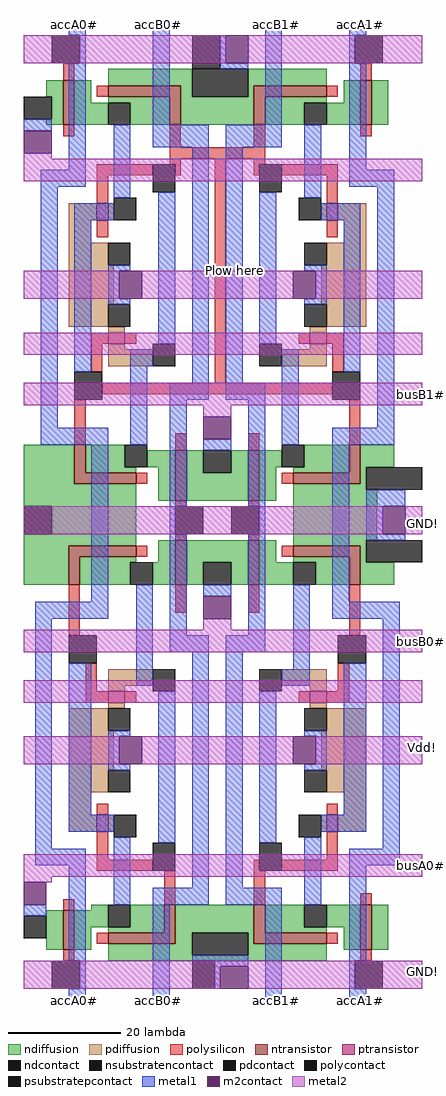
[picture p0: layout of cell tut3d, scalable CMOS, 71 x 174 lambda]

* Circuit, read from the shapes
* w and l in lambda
.subckt tut3d GND! Vdd! accA0# accA1# accB0# accB1# busA0# busB0# busB1#
M1 n1 accA0# busA0# GND! nfet w=7 l=2
M2 n2 accA0# n3 GND! nfet w=8 l=2
M3 GND! n1 n4 GND! nfet w=17 l=2
M4 GND! n2 n2 GND! nfet w=16 l=2
M5 GND! n4 n1 GND! nfet w=17 l=2
M6 GND! n2 n2 GND! nfet w=18 l=2 m=2
M7 busB0# accB0# n4 GND! nfet w=8 l=2
M8 busB1# accB0# n2 GND! nfet w=9 l=2
M9 n5 accB1# busB0# GND! nfet w=8 l=2
M10 n2 accB1# busB1# GND! nfet w=9 l=2
M11 GND! n5 n6 GND! nfet w=18 l=2
M12 GND! n2 n2 GND! nfet w=17 l=2
M13 GND! n6 n5 GND! nfet w=17 l=2
M14 n7 accA1# n6 GND! nfet w=8 l=2
M15 n8 accA1# n2 GND! nfet w=8 l=2
M16 n1 n4 Vdd! Vdd! pfet w=3 l=2
M17 n2 n2 Vdd! Vdd! pfet w=3 l=2 m=4
M18 n4 n1 Vdd! Vdd! pfet w=3 l=2
M19 n5 n6 Vdd! Vdd! pfet w=3 l=2
M20 Vdd! n5 n6 Vdd! pfet w=3 l=2
.ends

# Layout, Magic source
magic
tech scmos
<< polysilicon >>
rect 338 168 340 171
rect 344 165 346 167
rect 391 168 393 171
rect 385 165 387 167
rect 338 158 340 160
rect 357 156 359 160
rect 372 156 374 160
rect 391 158 393 160
rect 357 154 374 156
rect 357 153 359 154
rect 344 151 354 153
rect 344 146 346 151
rect 358 151 359 153
rect 344 140 346 143
rect 343 121 346 123
rect 349 121 351 123
rect 343 116 345 121
rect 365 114 367 154
rect 372 153 374 154
rect 372 151 373 153
rect 377 151 387 153
rect 385 146 387 151
rect 385 140 387 143
rect 380 121 382 123
rect 385 121 388 123
rect 386 116 388 121
rect 345 112 386 114
rect 340 103 342 111
rect 358 102 360 105
rect 371 102 373 105
rect 389 103 391 111
rect 351 96 353 98
rect 377 96 379 98
rect 358 92 360 93
rect 371 92 373 93
rect 358 86 360 87
rect 371 86 373 87
rect 351 83 353 85
rect 377 83 379 85
rect 339 69 341 78
rect 358 73 360 78
rect 371 73 373 78
rect 389 69 391 78
rect 342 59 344 64
rect 387 59 389 64
rect 342 57 346 59
rect 349 57 351 59
rect 380 57 382 59
rect 385 57 389 59
rect 344 37 346 39
rect 385 37 387 39
rect 344 29 346 34
rect 344 27 354 29
rect 338 20 340 22
rect 356 21 358 27
rect 372 27 373 29
rect 385 29 387 34
rect 377 27 387 29
rect 372 21 374 27
rect 391 21 393 23
rect 344 14 346 16
rect 338 11 340 13
rect 385 14 387 16
rect 391 11 393 13
<< ndiffusion >>
rect 335 165 338 168
rect 336 161 338 165
rect 335 160 338 161
rect 340 164 343 168
rect 346 167 361 170
rect 359 165 361 167
rect 371 167 385 170
rect 371 165 372 167
rect 346 164 357 165
rect 340 160 346 164
rect 350 160 357 164
rect 359 160 372 165
rect 374 164 385 165
rect 388 164 391 168
rect 374 160 381 164
rect 385 160 391 164
rect 393 160 396 168
rect 331 96 340 103
rect 342 99 349 103
rect 353 99 358 102
rect 342 98 351 99
rect 331 92 351 96
rect 355 93 358 99
rect 360 98 363 102
rect 368 98 371 102
rect 360 93 371 98
rect 373 99 377 102
rect 381 99 389 103
rect 373 93 376 99
rect 379 98 389 99
rect 391 99 397 103
rect 391 96 392 99
rect 379 95 392 96
rect 336 87 351 92
rect 331 85 351 87
rect 379 86 394 95
rect 331 78 339 85
rect 341 82 351 83
rect 355 82 358 86
rect 341 78 350 82
rect 354 78 358 82
rect 360 82 371 86
rect 360 78 363 82
rect 368 78 371 82
rect 373 82 376 86
rect 379 85 392 86
rect 379 82 389 83
rect 373 78 379 82
rect 383 78 389 82
rect 391 82 392 85
rect 391 78 397 82
rect 343 20 346 21
rect 335 13 338 20
rect 340 17 346 20
rect 350 17 356 21
rect 340 13 343 17
rect 346 16 356 17
rect 358 16 372 21
rect 374 17 381 21
rect 385 17 391 21
rect 374 16 385 17
rect 358 14 361 16
rect 346 12 361 14
rect 371 14 372 16
rect 371 12 385 14
rect 388 13 391 17
rect 393 13 396 21
rect 346 11 385 12
<< pdiffusion >>
rect 339 143 344 146
rect 346 143 347 146
rect 339 139 343 143
rect 339 135 346 139
rect 339 128 347 135
rect 339 124 346 128
rect 346 123 349 124
rect 346 120 349 121
rect 346 117 354 120
rect 384 143 385 146
rect 387 143 392 146
rect 388 139 392 143
rect 385 135 392 139
rect 384 128 392 135
rect 385 124 392 128
rect 382 123 385 124
rect 382 120 385 121
rect 377 117 385 120
rect 346 60 354 63
rect 346 59 349 60
rect 377 60 385 63
rect 382 59 385 60
rect 346 56 349 57
rect 382 56 385 57
rect 339 52 346 56
rect 385 52 392 56
rect 339 45 347 52
rect 384 45 392 52
rect 339 41 346 45
rect 385 41 392 45
rect 339 37 343 41
rect 388 37 392 41
rect 339 34 344 37
rect 346 34 347 37
rect 384 34 385 37
rect 387 34 392 37
<< metal1 >>
rect 339 176 342 178
rect 341 171 342 176
rect 331 159 336 161
rect 339 152 342 171
rect 334 149 342 152
rect 334 106 337 149
rect 347 147 350 160
rect 354 160 357 178
rect 366 171 367 176
rect 366 170 371 171
rect 374 160 377 178
rect 389 176 392 178
rect 389 171 390 176
rect 354 156 364 160
rect 340 143 347 146
rect 340 116 343 143
rect 346 134 350 135
rect 346 129 348 134
rect 346 128 350 129
rect 355 121 358 148
rect 350 117 354 120
rect 334 103 346 106
rect 350 103 353 117
rect 361 114 364 156
rect 343 75 346 103
rect 357 111 364 114
rect 367 156 377 160
rect 367 114 370 156
rect 373 121 376 148
rect 381 147 384 160
rect 389 152 392 171
rect 389 149 397 152
rect 384 143 391 146
rect 381 134 385 135
rect 383 129 385 134
rect 381 128 385 129
rect 367 111 374 114
rect 357 92 360 111
rect 363 102 368 104
rect 371 92 374 111
rect 377 103 380 120
rect 388 116 391 143
rect 394 106 397 149
rect 386 103 397 106
rect 357 87 358 92
rect 373 87 374 92
rect 333 72 346 75
rect 333 31 336 72
rect 339 37 343 64
rect 351 60 354 78
rect 357 69 360 87
rect 363 76 368 78
rect 371 69 374 87
rect 357 66 364 69
rect 346 51 350 52
rect 346 46 348 51
rect 346 45 350 46
rect 339 34 347 37
rect 333 28 342 31
rect 331 19 335 21
rect 339 11 342 28
rect 347 21 350 33
rect 355 32 358 59
rect 361 24 364 66
rect 354 21 364 24
rect 367 66 374 69
rect 367 24 370 66
rect 379 63 382 78
rect 386 75 389 103
rect 392 92 399 95
rect 392 87 395 92
rect 392 86 399 87
rect 386 72 398 75
rect 377 60 382 63
rect 373 32 376 59
rect 381 51 385 52
rect 383 46 385 51
rect 381 45 385 46
rect 388 37 392 64
rect 384 34 392 37
rect 367 21 377 24
rect 341 6 342 11
rect 339 4 342 6
rect 354 4 357 21
rect 361 11 371 12
rect 365 10 371 11
rect 365 6 366 10
rect 374 4 377 21
rect 381 21 384 33
rect 395 31 398 72
rect 389 28 398 31
rect 389 11 392 28
rect 389 6 390 11
rect 389 4 392 6
<< metal2 >>
rect 331 171 367 176
rect 371 171 402 176
rect 331 154 336 155
rect 331 150 402 154
rect 331 129 348 134
rect 352 129 379 134
rect 383 129 402 134
rect 331 119 402 123
rect 331 110 402 114
rect 363 108 368 110
rect 331 87 395 92
rect 399 87 402 92
rect 363 70 368 72
rect 331 66 402 70
rect 331 57 402 61
rect 331 46 348 51
rect 352 46 379 51
rect 383 46 402 51
rect 331 26 402 30
rect 331 25 336 26
rect 331 10 402 11
rect 331 6 366 10
rect 371 6 402 10
<< polycontact >>
rect 336 171 341 176
rect 390 171 395 176
rect 354 148 358 153
rect 340 111 345 116
rect 373 148 377 153
rect 386 111 391 116
rect 358 87 363 92
rect 368 87 373 92
rect 339 64 344 69
rect 387 64 392 69
rect 354 27 358 32
rect 373 27 377 32
rect 336 6 341 11
rect 390 6 395 11
<< ndcontact >>
rect 331 161 336 165
rect 361 165 371 170
rect 346 160 350 164
rect 381 160 385 164
rect 349 99 353 103
rect 363 98 368 102
rect 377 99 381 103
rect 392 95 402 99
rect 350 78 354 82
rect 363 78 368 82
rect 379 78 383 82
rect 392 82 402 86
rect 331 15 335 19
rect 346 17 350 21
rect 381 17 385 21
rect 361 12 371 16
<< pdcontact >>
rect 347 143 351 147
rect 346 124 350 128
rect 354 117 358 121
rect 380 143 384 147
rect 381 124 385 128
rect 373 117 377 121
rect 354 59 358 63
rect 373 59 377 63
rect 346 52 350 56
rect 381 52 385 56
rect 347 33 351 37
rect 380 33 384 37
<< m2contact >>
rect 331 155 336 159
rect 367 171 371 176
rect 348 129 352 134
rect 379 129 383 134
rect 363 104 368 108
rect 363 72 368 76
rect 348 46 352 51
rect 331 21 335 25
rect 395 87 399 92
rect 379 46 383 51
rect 366 6 371 10
<< ntransistor >>
rect 338 160 340 168
rect 346 165 359 167
rect 372 165 385 167
rect 357 160 359 165
rect 372 160 374 165
rect 391 160 393 168
rect 340 98 342 103
rect 340 96 351 98
rect 358 93 360 102
rect 371 93 373 102
rect 389 98 391 103
rect 379 96 391 98
rect 339 83 351 85
rect 339 78 341 83
rect 358 78 360 86
rect 371 78 373 86
rect 379 83 391 85
rect 389 78 391 83
rect 338 13 340 20
rect 356 16 358 21
rect 372 16 374 21
rect 346 14 358 16
rect 372 14 385 16
rect 391 13 393 21
<< ptransistor >>
rect 344 143 346 146
rect 346 121 349 123
rect 385 143 387 146
rect 382 121 385 123
rect 346 57 349 59
rect 382 57 385 59
rect 344 34 346 37
rect 385 34 387 37
<< psubstratepcontact >>
rect 361 170 366 176
rect 331 87 336 92
rect 361 6 365 11
<< nsubstratencontact >>
rect 346 135 350 139
rect 381 135 385 139
rect 346 41 350 45
rect 381 41 385 45
<< labels >>
rlabel metal2 402 89 402 89 7 GND!
rlabel metal1 391 178 391 178 5 accA1#
rlabel metal1 355 178 355 178 5 accB0#
rlabel metal1 376 178 376 178 5 accB1#
rlabel metal1 340 178 340 178 5 accA0#
rlabel space 359 125 378 143 5 Plow here
rlabel metal2 402 112 402 112 7 busB1#
rlabel metal2 402 68 402 68 7 busB0#
rlabel metal2 402 49 402 49 7 Vdd!
rlabel metal2 402 28 402 28 7 busA0#
rlabel metal1 391 4 391 4 1 accA1#
rlabel metal1 340 4 340 4 1 accA0#
rlabel metal2 402 9 402 9 8 GND!
rlabel metal1 355 4 355 4 1 accB0#
rlabel metal1 376 4 376 4 1 accB1#
<< end >>
